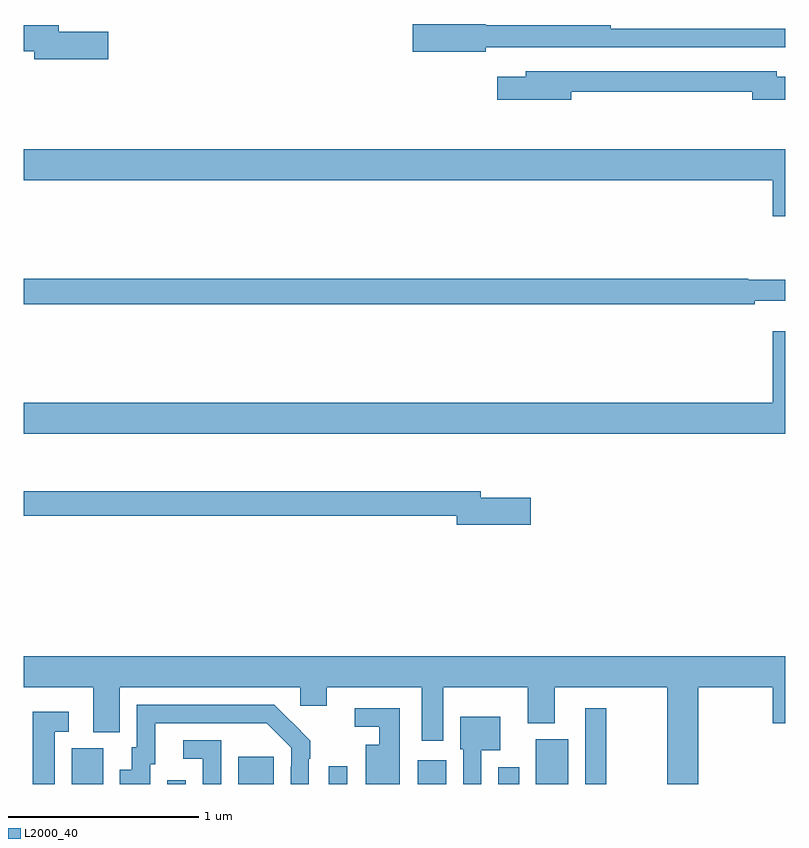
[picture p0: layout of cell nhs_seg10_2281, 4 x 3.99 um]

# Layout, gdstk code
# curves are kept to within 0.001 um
import gdstk
lib = gdstk.Library(unit=1e-6, precision=1e-09)
def R(c, l, rs):  # rectangles x0, y0, x1, y1
    for r in rs: c.add(gdstk.rectangle(r[:2], r[2:], *l))
def P(c, l, *ps):  # polygons
    for p in ps: c.add(gdstk.Polygon(p, *l))
L2000_40 = (2000, 40)

nhs_seg10_2281 = lib.new_cell('nhs_seg10_2281')
R(nhs_seg10_2281, L2000_40, [(233.252,1274.5,233.416,1274.688), (233.754,1274.5,233.85,1274.521), (234.125,1274.5,234.313,1274.644), (234.603,1274.5,234.699,1274.593), (235.07,1274.5,235.219,1274.626), (235.493,1274.5,235.603,1274.587), (235.691,1274.5,235.861,1274.734), (235.95,1274.5,236.059,1274.899)])
P(nhs_seg10_2281, L2000_40, [(235.428,1278.372),(237,1278.372),(237,1278.468),(236.084,1278.468),(236.084,1278.488),(235.428,1278.488),(235.428,1278.494),(235.044,1278.494),(235.044,1278.347),(235.428,1278.347)],
  [(233.443,1278.452),(233.182,1278.452),(233.182,1278.488),(233,1278.488),(233,1278.352),(233.054,1278.352),(233.054,1278.31),(233.443,1278.31)],
  [(235.876,1278.138),(236.828,1278.138),(236.828,1278.095),(237,1278.095),(237,1278.217),(236.956,1278.217),(236.956,1278.246),(235.637,1278.246),(235.637,1278.217),(235.488,1278.217),(235.488,1278.095),(235.876,1278.095)],
  [(237,1277.836),(233,1277.836),(233,1277.672),(236.936,1277.672),(236.936,1277.484),(237,1277.484)],
  [(236.84,1277.039),(237,1277.039),(237,1277.149),(236.806,1277.149),(236.806,1277.156),(233,1277.156),(233,1277.02),(236.84,1277.02)],
  [(237,1276.879),(236.936,1276.879),(236.936,1276.504),(233,1276.504),(233,1276.34),(237,1276.34)],
  [(235.663,1276.005),(235.402,1276.005),(235.402,1276.039),(233,1276.039),(233,1275.91),(235.274,1275.91),(235.274,1275.863),(235.663,1275.863)],
  [(233,1275.008),(233.363,1275.008),(233.363,1274.773),(233.503,1274.773),(233.503,1275.008),(234.453,1275.008),(234.453,1274.91),(234.592,1274.91),(234.592,1275.008),(235.091,1275.008),(235.091,1274.727),(235.204,1274.727),(235.204,1275.008),(235.649,1275.008),(235.649,1274.819),(235.789,1274.819),(235.789,1275.008),(236.381,1275.008),(236.381,1274.5),(236.545,1274.5),(236.545,1275.008),(236.936,1275.008),(236.936,1274.82),(237,1274.82),(237,1275.172),(233,1275.172)],
  [(233.665,1274.604),(233.689,1274.604),(233.689,1274.82),(234.277,1274.82),(234.405,1274.691),(234.405,1274.591),(234.402,1274.591),(234.402,1274.5),(234.498,1274.5),(234.498,1274.633),(234.506,1274.633),(234.506,1274.728),(234.316,1274.916),(233.592,1274.916),(233.592,1274.694),(233.567,1274.694),(233.567,1274.575),(233.504,1274.575),(233.504,1274.5),(233.665,1274.5)],
  [(234.976,1274.613),(234.975,1274.613),(234.975,1274.898),(234.738,1274.898),(234.738,1274.802),(234.867,1274.802),(234.867,1274.707),(234.797,1274.707),(234.797,1274.5),(234.976,1274.5)],
  [(233.163,1274.775),(233.236,1274.775),(233.236,1274.881),(233.047,1274.881),(233.047,1274.5),(233.163,1274.5)],
  [(235.404,1274.678),(235.504,1274.678),(235.504,1274.854),(235.292,1274.854),(235.292,1274.682),(235.308,1274.682),(235.308,1274.5),(235.404,1274.5)],
  [(234.036,1274.73),(233.838,1274.73),(233.838,1274.634),(233.94,1274.634),(233.94,1274.5),(234.036,1274.5)])

lib.write_gds('nhs_seg10_2281.gds')
